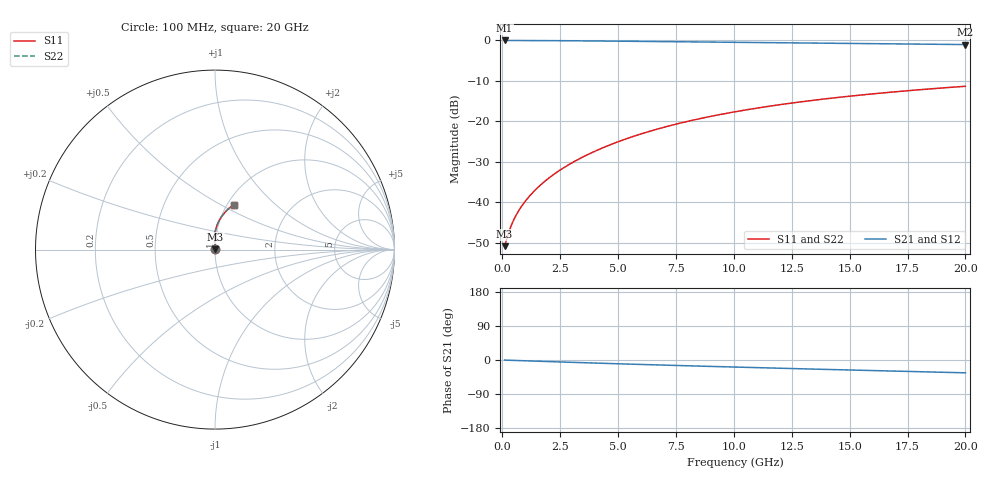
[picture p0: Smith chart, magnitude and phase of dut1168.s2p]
! Touchstone file exported from HFSS 2024.1.0
!  File:  C:/UserFiles/LocalFiles/RDL_TSV_Batchsim/temp_RDL_top_1168_1780048783.aedt
!  Generated:  06:01:43 PM May 29, 2026
!  Design:  RDL_top
!  Project:  temp_RDL_top_1168_1780048783
!  Setup:  Setup1
!  Solution:  Sweep
! Variables:
!  dtsv = 10.80580581um
!  hbump = 3um
!  htsv = 67.51um
!  ldown = 100um
!  lrdl = 491.1um
!  p = 40
!  p1 = 51.06um
!  rhole = 1um
!  t = 450um
!  tdown = 3.915915916um
!  trdl = 2.59um
!  wdown = 15.38538539um
!  wrdl = 29.48um
# GHz S MA R 50.000000
! Terminal data exported
! Port[1] = Box2_T1
! Port[2] = Box2_T2
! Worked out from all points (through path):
!   200 points, 100 MHz to 20 GHz, reference 50 ohm
!   highest |S21| = -0.02 dB at 100 MHz (marker M1); lowest = -1.0 dB at 20 GHz (marker M2)
!   group delay of S21, straight-line fit = 4.62 ps
!   lowest |S11| = -50.8 dB at 100 MHz (marker M3), VSWR 1.01, Z = 50.3 + j0.12 ohm
!   |S11| at or under -10 dB: start of sweep to end of sweep
!   |S22| runs from -50.8 to -11.3 dB; largest |S21 - S12| = 4.4e-15
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0.1  0.002882 24.4  0.9974 -0.2  0.9974 -0.2  0.002882 24.4
! Gamma 0 0 0 0
! Port Impedance 50 0 50 0
0.3  0.004442 49.3  0.997 -0.7  0.997 -0.7  0.004442 49.3
0.4  0.005299 55.2  0.9967 -0.9  0.9967 -0.9  0.005298 55.2
0.5  0.006144 59.5  0.9965 -1.1  0.9965 -1.1  0.006143 59.5
0.6  0.006982 63.0  0.9963 -1.3  0.9963 -1.3  0.006981 63.0
0.8  0.008669 68.5  0.9959 -1.7  0.9959 -1.7  0.008668 68.5
1  0.0104 72.6  0.9955 -2.1  0.9955 -2.1  0.0104 72.6
1.2  0.01218 75.9  0.995 -2.5  0.995 -2.5  0.01218 75.9
1.7  0.01688 81.7  0.9937 -3.6  0.9937 -3.6  0.01688 81.7
2.2  0.02192 85.5  0.9919 -4.6  0.9919 -4.6  0.02192 85.5
2.8  0.02842 88.5  0.9895 -5.8  0.9895 -5.8  0.02842 88.5
3.5  0.03659 90.6  0.986 -7.1  0.986 -7.1  0.03659 90.6
4.2  0.04536 91.8  0.9822 -8.5  0.9822 -8.5  0.04536 91.8
5  0.05603 92.2  0.9774 -10.0  0.9774 -10.0  0.05604 92.2
5.9  0.06871 91.9  0.9718 -11.6  0.9718 -11.6  0.06871 91.9
6.8  0.0819 91.1  0.966 -13.2  0.966 -13.2  0.08191 91.1
8.4  0.1061 88.8  0.9558 -15.9  0.9558 -15.9  0.1061 88.8
10.1  0.1321 85.8  0.9451 -18.7  0.9451 -18.7  0.1321 85.8
11.7  0.1564 82.7  0.9353 -21.3  0.9353 -21.3  0.1564 82.7
13.4  0.1816 79.4  0.9252 -24.0  0.9252 -24.0  0.1817 79.4
16.7  0.2282 73.2  0.9061 -29.0  0.9061 -29.0  0.2283 73.2
20  0.2711 67.4  0.8874 -33.8  0.8874 -33.8  0.2712 67.4
